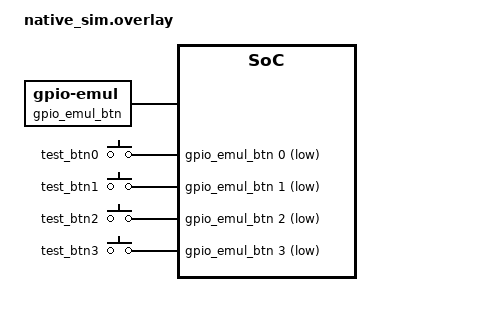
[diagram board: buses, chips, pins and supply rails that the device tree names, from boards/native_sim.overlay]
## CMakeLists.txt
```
# SPDX-License-Identifier: Apache-2.0
#
# Copyright (c) Centro de Inovacao EDGE

cmake_minimum_required(VERSION 3.20.0)

find_package(Zephyr REQUIRED HINTS $ENV{ZEPHYR_BASE})

project(test_zbook_btn)

target_sources(app PRIVATE src/main.c)
```

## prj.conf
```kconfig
CONFIG_ZTEST=y
CONFIG_GPIO=y
CONFIG_GPIO_EMUL=y
CONFIG_INPUT=y
CONFIG_INPUT_MODE_SYNCHRONOUS=y
CONFIG_ZBOOK_INTERFACE_IO=y
CONFIG_BTN_LONG_PRESS_MS=50
```

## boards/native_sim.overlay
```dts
#include <zephyr/dt-bindings/input/input-event-codes.h>

/ {
	gpio_emul_btn: gpio_emul_btn {
		compatible = "zephyr,gpio-emul";
		gpio-controller;
		#gpio-cells = <2>;
		ngpios = <4>;
		rising-edge;
		falling-edge;
	};

	buttons: buttons {
		compatible = "gpio-keys";
		debounce-interval-ms = <1>;

		test_btn0: btn_0 {
			gpios = <&gpio_emul_btn 0 (GPIO_PULL_UP | GPIO_ACTIVE_LOW)>;
			zephyr,code = <INPUT_KEY_0>;
		};

		test_btn1: btn_1 {
			gpios = <&gpio_emul_btn 1 (GPIO_PULL_UP | GPIO_ACTIVE_LOW)>;
			zephyr,code = <INPUT_KEY_1>;
		};

		test_btn2: btn_2 {
			gpios = <&gpio_emul_btn 2 (GPIO_PULL_UP | GPIO_ACTIVE_LOW)>;
			zephyr,code = <INPUT_KEY_2>;
		};

		test_btn3: btn_3 {
			gpios = <&gpio_emul_btn 3 (GPIO_PULL_UP | GPIO_ACTIVE_LOW)>;
			zephyr,code = <INPUT_KEY_3>;
		};
	};

	aliases {
		button0 = &test_btn0;
		button1 = &test_btn1;
		button2 = &test_btn2;
		button3 = &test_btn3;
	};
};
```

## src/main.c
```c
/************************************************************************
 * @file main.c
 *
 * @brief Unit tests for the Zbook button interface.
 * @author João Matheus Nascimento Dias (joao.dias@edge.ufal.br)
 *
 * @copyright Centro de Inovação EDGE 2026. Todos os direitos reservados.
 *
 ***********************************************************************/

#include <zephyr/ztest.h>
#include <zephyr/drivers/gpio.h>
#include <zephyr/drivers/gpio/gpio_emul.h>

#include "io/zbook_btn.h"

#define WAIT_TIMEOUT      K_MSEC(100)
#define LONG_PRESS_TIMEOUT K_MSEC(200)

#define LVL_RELEASED 1
#define LVL_PRESSED  0

static const struct gpio_dt_spec btn0 = GPIO_DT_SPEC_GET(DT_ALIAS(button0), gpios);
static const struct gpio_dt_spec btn1 = GPIO_DT_SPEC_GET(DT_ALIAS(button1), gpios);
static const struct gpio_dt_spec btn2 = GPIO_DT_SPEC_GET(DT_ALIAS(button2), gpios);
static const struct gpio_dt_spec btn3 = GPIO_DT_SPEC_GET(DT_ALIAS(button3), gpios);

static struct {
	struct k_sem sem;
	enum zbook_btn last_btn;
	enum zbook_btn_evt last_evt;
	int count;
} rec;

static void rec_reset(void)
{
	k_sem_init(&rec.sem, 0, 10);
	rec.last_btn = ZBOOK_BTN_ALL;
	rec.last_evt = ZBOOK_BTN_EVT_NONE;
	rec.count = 0;
}

static void rec_cb(enum zbook_btn btn, enum zbook_btn_evt evt, void *user_data)
{
	ARG_UNUSED(user_data);

	rec.last_btn = btn;
	rec.last_evt = evt;
	rec.count++;
	k_sem_give(&rec.sem);
}

static void set_all_released(void)
{
	gpio_emul_input_set_dt(&btn0, LVL_RELEASED);
	gpio_emul_input_set_dt(&btn1, LVL_RELEASED);
	gpio_emul_input_set_dt(&btn2, LVL_RELEASED);
	gpio_emul_input_set_dt(&btn3, LVL_RELEASED);
}

static void *suite_setup(void)
{
	zassert_equal(zbook_btn_init(), 0, "zbook_btn_init() failed");

	return NULL;
}

static void test_before(void *fixture)
{
	ARG_UNUSED(fixture);

	set_all_released();

	k_msleep(30);

	zassert_equal(zbook_btn_rm_cb(ZBOOK_BTN_ALL), 0);
	rec_reset();
}

ZTEST_SUITE(zbook_btn, NULL, suite_setup, test_before, NULL, NULL);

ZTEST(zbook_btn, test_reg_cb_rejects_invalid_button)
{
	/* Exercises both sides of IS_BTN_VALID's range check: too high and
	 * negative.
	 */
	zassert_equal(zbook_btn_reg_cb((enum zbook_btn)123, ZBOOK_BTN_EVT_BOTH, rec_cb, NULL),
		      -EINVAL);
	zassert_equal(zbook_btn_reg_cb((enum zbook_btn) - 1, ZBOOK_BTN_EVT_BOTH, rec_cb, NULL),
		      -EINVAL);
}

ZTEST(zbook_btn, test_reg_cb_rejects_invalid_event)
{
	/* Exercises IS_BTN_EVT_VALID: bits outside ZBOOK_BTN_EVT_ALL, and the
	 * empty mask.
	 */
	zassert_equal(zbook_btn_reg_cb(ZBOOK_BTN_0, (enum zbook_btn_evt)0x5A5A, rec_cb, NULL),
		      -EINVAL);
	zassert_equal(zbook_btn_reg_cb(ZBOOK_BTN_0, ZBOOK_BTN_EVT_NONE, rec_cb, NULL), -EINVAL);
}

ZTEST(zbook_btn, test_reg_cb_rejects_null_callback)
{
	zassert_equal(zbook_btn_reg_cb(ZBOOK_BTN_0, ZBOOK_BTN_EVT_BOTH, NULL, NULL), -EINVAL);
}

ZTEST(zbook_btn, test_rm_cb_rejects_invalid_button)
{
	/* Exercises both sides of IS_BTN_VALID's range check. */
	zassert_equal(zbook_btn_rm_cb((enum zbook_btn)123), -EINVAL);
	zassert_equal(zbook_btn_rm_cb((enum zbook_btn) - 1), -EINVAL);
}

ZTEST(zbook_btn, test_rm_cb_on_unregistered_button_succeeds)
{
	/* No hardware state to fail on anymore: removing a callback that was
	 * never registered is a no-op.
	 */
	zassert_equal(zbook_btn_rm_cb(ZBOOK_BTN_1), 0);
}

ZTEST(zbook_btn, test_pressed_fires_only_on_press)
{
	zassert_equal(zbook_btn_reg_cb(ZBOOK_BTN_0, ZBOOK_BTN_EVT_PRESSED, rec_cb, NULL), 0);

	gpio_emul_input_set_dt(&btn0, LVL_PRESSED);
	zassert_equal(k_sem_take(&rec.sem, WAIT_TIMEOUT), 0, "callback not fired on press");
	zassert_equal(rec.last_btn, ZBOOK_BTN_0);
	zassert_equal(rec.last_evt, ZBOOK_BTN_EVT_PRESSED);
	zassert_equal(rec.count, 1);

	gpio_emul_input_set_dt(&btn0, LVL_RELEASED);
	zassert_not_equal(k_sem_take(&rec.sem, K_MSEC(20)), 0, "callback fired on release");
	zassert_equal(rec.count, 1);

	zassert_equal(zbook_btn_rm_cb(ZBOOK_BTN_0), 0);
}

ZTEST(zbook_btn, test_released_fires_only_on_release)
{
	zassert_equal(zbook_btn_reg_cb(ZBOOK_BTN_1, ZBOOK_BTN_EVT_RELEASED, rec_cb, NULL), 0);

	gpio_emul_input_set_dt(&btn1, LVL_PRESSED);
	zassert_not_equal(k_sem_take(&rec.sem, K_MSEC(20)), 0, "callback fired on press");
	zassert_equal(rec.count, 0);

	gpio_emul_input_set_dt(&btn1, LVL_RELEASED);
	zassert_equal(k_sem_take(&rec.sem, WAIT_TIMEOUT), 0, "callback not fired on release");
	zassert_equal(rec.last_btn, ZBOOK_BTN_1);
	zassert_equal(rec.last_evt, ZBOOK_BTN_EVT_RELEASED);
	zassert_equal(rec.count, 1);

	zassert_equal(zbook_btn_rm_cb(ZBOOK_BTN_1), 0);
}

ZTEST(zbook_btn, test_both_fires_on_press_and_release)
{
	zassert_equal(zbook_btn_reg_cb(ZBOOK_BTN_2, ZBOOK_BTN_EVT_BOTH, rec_cb, NULL), 0);

	gpio_emul_input_set_dt(&btn2, LVL_PRESSED);
	zassert_equal(k_sem_take(&rec.sem, WAIT_TIMEOUT), 0, "callback not fired on press");
	zassert_equal(rec.last_evt, ZBOOK_BTN_EVT_PRESSED);

	gpio_emul_input_set_dt(&btn2, LVL_RELEASED);
	zassert_equal(k_sem_take(&rec.sem, WAIT_TIMEOUT), 0, "callback not fired on release");
	zassert_equal(rec.last_evt, ZBOOK_BTN_EVT_RELEASED);

	zassert_equal(rec.count, 2);

	zassert_equal(zbook_btn_rm_cb(ZBOOK_BTN_2), 0);
}

ZTEST(zbook_btn, test_all_registers_every_button)
{
	zassert_equal(zbook_btn_reg_cb(ZBOOK_BTN_ALL, ZBOOK_BTN_EVT_PRESSED, rec_cb, NULL), 0);

	gpio_emul_input_set_dt(&btn0, LVL_PRESSED);
	zassert_equal(k_sem_take(&rec.sem, WAIT_TIMEOUT), 0);
	zassert_equal(rec.last_btn, ZBOOK_BTN_0);

	gpio_emul_input_set_dt(&btn1, LVL_PRESSED);
	zassert_equal(k_sem_take(&rec.sem, WAIT_TIMEOUT), 0);
	zassert_equal(rec.last_btn, ZBOOK_BTN_1);

	gpio_emul_input_set_dt(&btn2, LVL_PRESSED);
	zassert_equal(k_sem_take(&rec.sem, WAIT_TIMEOUT), 0);
	zassert_equal(rec.last_btn, ZBOOK_BTN_2);

	gpio_emul_input_set_dt(&btn3, LVL_PRESSED);
	zassert_equal(k_sem_take(&rec.sem, WAIT_TIMEOUT), 0);
	zassert_equal(rec.last_btn, ZBOOK_BTN_3);

	zassert_equal(rec.count, 4);

	zassert_equal(zbook_btn_rm_cb(ZBOOK_BTN_ALL), 0);
}

ZTEST(zbook_btn, test_rm_cb_stops_further_callbacks)
{
	zassert_equal(zbook_btn_reg_cb(ZBOOK_BTN_2, ZBOOK_BTN_EVT_BOTH, rec_cb, NULL), 0);

	gpio_emul_input_set_dt(&btn2, LVL_PRESSED);
	zassert_equal(k_sem_take(&rec.sem, WAIT_TIMEOUT), 0);

	zassert_equal(zbook_btn_rm_cb(ZBOOK_BTN_2), 0);

	gpio_emul_input_set_dt(&btn2, LVL_RELEASED);
	zassert_not_equal(k_sem_take(&rec.sem, K_MSEC(20)), 0,
			  "callback fired after zbook_btn_rm_cb()");
	zassert_equal(rec.count, 1);
}

ZTEST(zbook_btn, test_long_pressed_fires_after_threshold)
{
	zassert_equal(zbook_btn_reg_cb(ZBOOK_BTN_0, ZBOOK_BTN_EVT_ALL, rec_cb, NULL), 0);

	gpio_emul_input_set_dt(&btn0, LVL_PRESSED);
	zassert_equal(k_sem_take(&rec.sem, WAIT_TIMEOUT), 0, "PRESSED not fired");
	zassert_equal(rec.last_evt, ZBOOK_BTN_EVT_PRESSED);

	zassert_equal(k_sem_take(&rec.sem, LONG_PRESS_TIMEOUT), 0, "LONG_PRESSED not fired");
	zassert_equal(rec.last_evt, ZBOOK_BTN_EVT_LONG_PRESSED);

	gpio_emul_input_set_dt(&btn0, LVL_RELEASED);
	zassert_equal(k_sem_take(&rec.sem, WAIT_TIMEOUT), 0, "RELEASED not fired");
	zassert_equal(rec.last_evt, ZBOOK_BTN_EVT_RELEASED);

	zassert_equal(rec.count, 3);

	zassert_equal(zbook_btn_rm_cb(ZBOOK_BTN_0), 0);
}

ZTEST(zbook_btn, test_long_pressed_not_fired_on_short_press)
{
	zassert_equal(zbook_btn_reg_cb(ZBOOK_BTN_1, ZBOOK_BTN_EVT_ALL, rec_cb, NULL), 0);

	gpio_emul_input_set_dt(&btn1, LVL_PRESSED);
	zassert_equal(k_sem_take(&rec.sem, WAIT_TIMEOUT), 0, "PRESSED not fired");

	gpio_emul_input_set_dt(&btn1, LVL_RELEASED);
	zassert_equal(k_sem_take(&rec.sem, WAIT_TIMEOUT), 0, "RELEASED not fired");

	/* Released well before CONFIG_BTN_LONG_PRESS_MS: the pending timer
	 * must have been cancelled.
	 */
	zassert_not_equal(k_sem_take(&rec.sem, LONG_PRESS_TIMEOUT), 0,
			  "LONG_PRESSED fired after early release");
	zassert_equal(rec.count, 2);

	zassert_equal(zbook_btn_rm_cb(ZBOOK_BTN_1), 0);
}

ZTEST(zbook_btn, test_rm_cb_cancels_pending_long_press)
{
	zassert_equal(zbook_btn_reg_cb(ZBOOK_BTN_2, ZBOOK_BTN_EVT_LONG_PRESSED, rec_cb, NULL), 0);

	gpio_emul_input_set_dt(&btn2, LVL_PRESSED);

	zassert_equal(zbook_btn_rm_cb(ZBOOK_BTN_2), 0);

	zassert_not_equal(k_sem_take(&rec.sem, LONG_PRESS_TIMEOUT), 0,
			  "LONG_PRESSED fired after zbook_btn_rm_cb()");
	zassert_equal(rec.count, 0);
}

static const char user_data_expected[] = "sample";
static const void *user_data_received;

static void user_data_cb(enum zbook_btn btn, enum zbook_btn_evt evt, void *user_data)
{
	user_data_received = user_data;
	rec_cb(btn, evt, NULL);
}

ZTEST(zbook_btn, test_user_data_is_forwarded)
{
	user_data_received = NULL;

	zassert_equal(zbook_btn_reg_cb(ZBOOK_BTN_0, ZBOOK_BTN_EVT_PRESSED, user_data_cb,
				       (void *)user_data_expected),
		      0);

	gpio_emul_input_set_dt(&btn0, LVL_PRESSED);
	zassert_equal(k_sem_take(&rec.sem, WAIT_TIMEOUT), 0);
	zassert_equal_ptr(user_data_received, user_data_expected);

	zassert_equal(zbook_btn_rm_cb(ZBOOK_BTN_0), 0);
}
```
